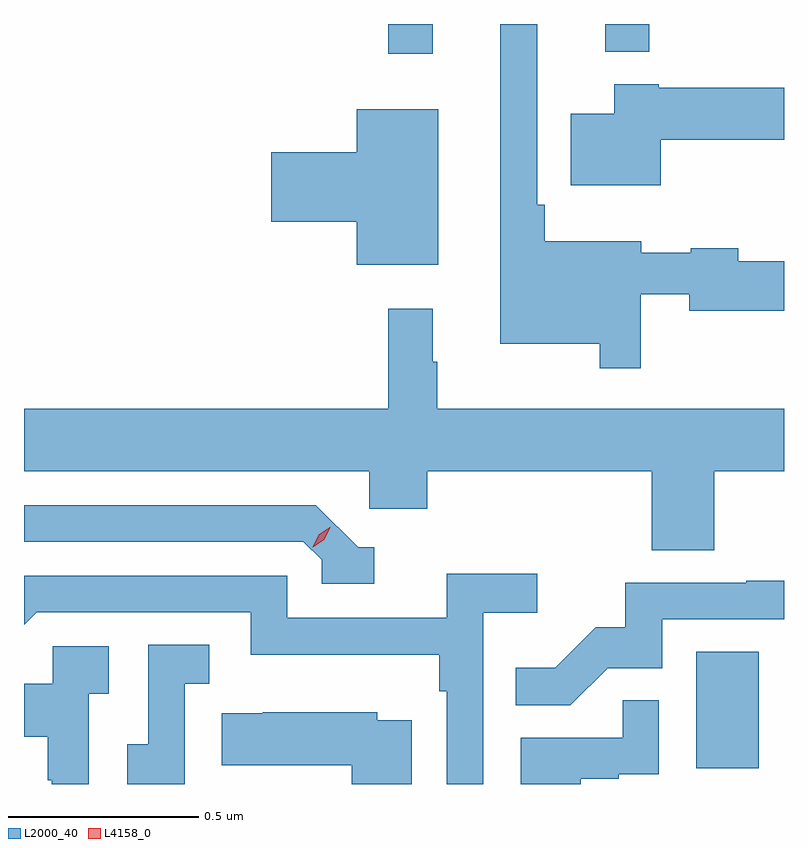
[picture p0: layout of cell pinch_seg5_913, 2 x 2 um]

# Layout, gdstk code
import gdstk
lib = gdstk.Library(unit=1e-6, precision=1e-09)
def R(c, l, rs):  # rectangles x0, y0, x1, y1
    for r in rs: c.add(gdstk.rectangle(r[:2], r[2:], *l))
def P(c, l, *ps):  # polygons
    for p in ps: c.add(gdstk.Polygon(p, *l))
L2000_40 = (2000, 40)
L4158_0 = (4158, 0)

pinch_seg5_913 = lib.new_cell('pinch_seg5_913')
R(pinch_seg5_913, L2000_40, [(864.44,883.95,864.604,884.257), (863.629,885.831,863.747,885.909), (864.2,885.836,864.317,885.909)])
P(pinch_seg5_913, L2000_40, [(864.294,885.198),(864.422,885.198),(864.422,885.155),(864.671,885.155),(864.671,885.285),(864.55,885.285),(864.55,885.319),(864.426,885.319),(864.426,885.307),(864.295,885.307),(864.295,885.337),(864.041,885.337),(864.041,885.433),(864.021,885.433),(864.021,885.909),(863.924,885.909),(863.924,885.068),(864.186,885.068),(864.186,885.003),(864.294,885.003)],
  [(864.346,885.604),(864.671,885.604),(864.671,885.741),(864.342,885.741),(864.342,885.751),(864.224,885.751),(864.224,885.673),(864.11,885.673),(864.11,885.485),(864.346,885.485)],
  [(863.761,885.685),(863.546,885.685),(863.546,885.572),(863.322,885.572),(863.322,885.389),(863.546,885.389),(863.546,885.275),(863.761,885.275)],
  [(864.488,884.732),(864.671,884.732),(864.671,884.896),(863.758,884.896),(863.758,885.02),(863.746,885.02),(863.746,885.16),(863.629,885.16),(863.629,884.896),(862.671,884.896),(862.671,884.732),(863.58,884.732),(863.58,884.634),(863.732,884.634),(863.732,884.732),(864.323,884.732),(864.323,884.524),(864.488,884.524)],
  [(863.593,884.532),(863.55,884.532),(863.439,884.643),(862.671,884.643),(862.671,884.547),(863.406,884.547),(863.454,884.499),(863.454,884.436),(863.593,884.436)],
  [(863.88,884.36),(864.022,884.36),(864.022,884.462),(863.783,884.462),(863.783,884.346),(863.364,884.346),(863.364,884.457),(862.671,884.457),(862.671,884.328),(862.704,884.361),(863.268,884.361),(863.268,884.249),(863.764,884.249),(863.764,884.153),(863.784,884.153),(863.784,883.909),(863.88,883.909)],
  [(864.207,884.214),(864.351,884.214),(864.351,884.343),(864.671,884.343),(864.671,884.444),(864.571,884.444),(864.571,884.439),(864.253,884.439),(864.253,884.322),(864.176,884.322),(864.069,884.215),(863.965,884.215),(863.965,884.116),(864.109,884.116)],
  [(863.094,884.173),(863.158,884.173),(863.158,884.276),(862.998,884.276),(862.998,884.013),(862.943,884.013),(862.943,883.909),(863.094,883.909)],
  [(862.842,884.147),(862.894,884.147),(862.894,884.271),(862.746,884.271),(862.746,884.173),(862.671,884.173),(862.671,884.033),(862.734,884.033),(862.734,883.919),(862.744,883.919),(862.744,883.909),(862.842,883.909)],
  [(864.136,883.923),(864.236,883.923),(864.236,883.935),(864.342,883.935),(864.342,884.129),(864.247,884.129),(864.247,884.031),(863.978,884.031),(863.978,883.909),(864.136,883.909)],
  [(863.692,884.077),(863.601,884.077),(863.601,884.098),(863.299,884.098),(863.299,884.095),(863.191,884.095),(863.191,883.958),(863.534,883.958),(863.534,883.909),(863.692,883.909)])
P(pinch_seg5_913, L4158_0, [(863.431,884.532),(863.431,884.533),(863.446,884.565),(863.476,884.585),(863.477,884.585),(863.477,884.585),(863.461,884.552),(863.431,884.532)])

lib.write_gds('pinch_seg5_913.gds')
